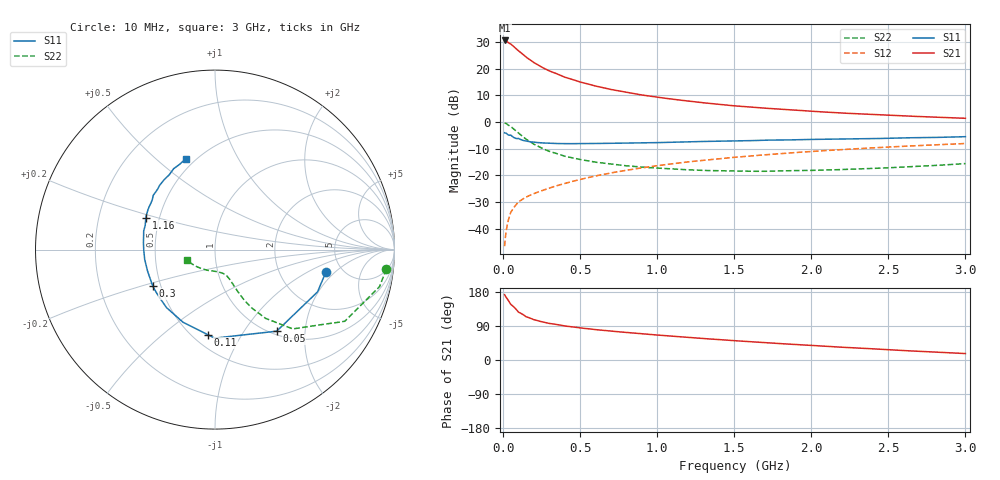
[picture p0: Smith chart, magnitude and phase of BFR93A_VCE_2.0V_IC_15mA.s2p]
! Infineon Technologies  Discrete & RF Semiconductors
! BFR93A
! VCE =  2.0 V,  IC =  15 mA
! Common Emitter S-Parameters:  Nov 2015
# GHz  S  MA  R  50
!  f  S11  S21  S12  S22
! GHz  MAG  ANG  MAG  ANG  MAG  ANG  MAG  ANG
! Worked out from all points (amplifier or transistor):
!   180 points, 10 MHz to 3 GHz, reference 50 ohm
!   highest |S21| = 30.6 dB at 10 MHz (marker M1)
!   |S21| within 3 dB of that: start of sweep to 82.15 MHz
!   unconditionally stable (mu >= 1): 461.7 MHz to end of sweep
!   at 160 MHz: K = 0.63, MSG = 25.9 dB, |S12| = -27.9 dB
!   at 1.22 GHz: K = 1.09, MAG = 9.5 dB, |S12| = -14.8 dB
!   at 3 GHz: K = 1.01, MAG = 4.3 dB, |S12| = -8.0 dB
!   S11 on the Smith chart (normalised r, x): 10 MHz: 3.73, -1.54; 50 MHz: 1.06, -1.43; 110 MHz: 0.59, -0.73; 300 MHz: 0.45, -0.22; 1.16 GHz: 0.42, +0.18; 3 GHz: 0.45, +0.63
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0.01  0.6304 -11.4  33.96 172.4  0.0047 84.0  0.9604 -6.5
0.02  0.618 -22.4  33.17 165.3  0.0091 78.8  0.9397 -12.7
0.05  0.5698 -52.9  29.18 146.8  0.0203 69.2  0.8262 -28.9
0.1  0.4933 -90.2  21.78 126.3  0.0319 59.5  0.6186 -45.6
0.11  0.477 -94.5  20.65 124.4  0.0334 58.9  0.5891 -46.9
0.15  0.4422 -113.8  16.46 114.0  0.0392 57.0  0.4751 -53.7
0.2  0.4213 -129.9  13.06 106.4  0.0455 57.6  0.3846 -57.8
0.24  0.4088 -139.0  11.19 102.0  0.0503 58.4  0.3362 -59.5
0.26  0.4056 -143.0  10.4 100.0  0.0527 58.9  0.3159 -60.2
0.3  0.4022 -149.7  9.107 96.5  0.0577 60.0  0.2827 -61.1
0.4  0.3943 -162.8  6.957 89.8  0.0705 62.2  0.2289 -62.4
0.5  0.3955 -172.1  5.641 84.6  0.0839 63.4  0.1984 -63.0
0.52  0.3953 -173.5  5.459 83.8  0.0866 63.5  0.1941 -63.2
0.6  0.3968 -179.0  4.742 80.2  0.0974 64.0  0.1769 -64.1
0.7  0.4001 175.4  4.089 76.2  0.1112 64.0  0.1628 -65.6
0.9  0.4106 165.4  3.223 69.3  0.1384 63.4  0.1427 -70.1
1.02  0.4129 160.3  2.874 65.3  0.1547 62.5  0.1359 -73.4
1.16  0.4239 155.2  2.561 61.1  0.1736 61.3  0.129 -78.6
1.52  0.4414 143.8  1.996 50.5  0.2206 57.6  0.12 -93.7
2.02  0.4734 130.3  1.582 38.1  0.2832 51.7  0.1244 -116.0
2.52  0.4989 118.8  1.338 26.8  0.3424 45.1  0.1397 -137.5
3  0.532 107.9  1.177 17.0  0.3962 38.5  0.1666 -158.7
